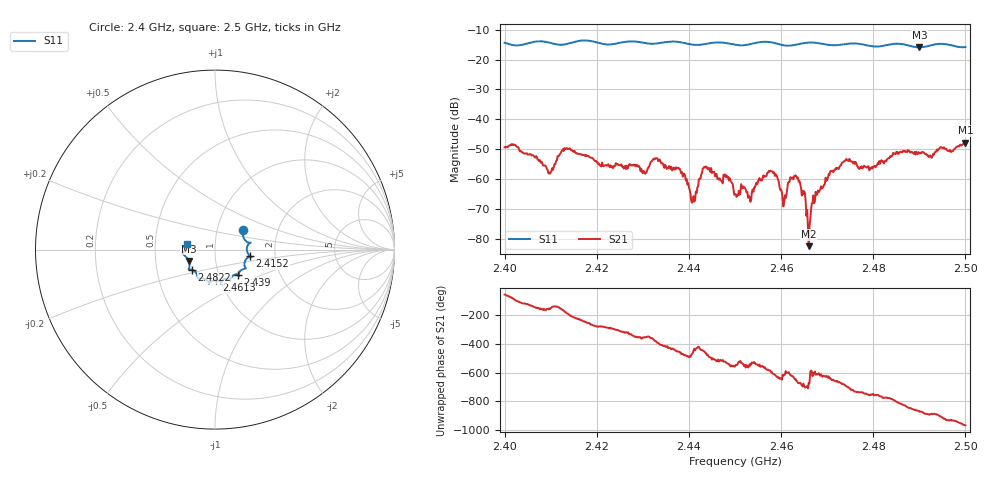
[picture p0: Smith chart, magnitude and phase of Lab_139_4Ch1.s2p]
# Hz S RI R 50
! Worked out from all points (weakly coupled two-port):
!   601 points, 2.4 GHz to 2.5 GHz, reference 50 ohm
!   highest |S21| = -47.78 dB at 2.5 GHz (marker M1); lowest = -82.5 dB at 2.466 GHz (marker M2)
!   lowest |S11| = -15.9 dB at 2.49 GHz (marker M3), VSWR 1.38, Z = 36.9 - j4.83 ohm
!   |S11| at or under -10 dB: start of sweep to end of sweep
!   S12 and S22 are empty: the file has one direction only
!   S11 on the Smith chart (normalised r, x): 2.4 GHz: 1.33, +0.31; 2.4152 GHz: 1.48, -0.11; 2.439 GHz: 1.24, -0.36; 2.4613 GHz: 0.96, -0.34; 2.4822 GHz: 0.76, -0.17; 2.5 GHz: 0.72, +0.05
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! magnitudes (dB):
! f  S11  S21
! 2.4 GHz  -14.4  -49.3
! 2.4097 GHz  -14.3  -57.8
! 2.4152 GHz  -14.1  -50.6
! 2.4167 GHz  -13.6  -51.7
! 2.4303 GHz  -14.4  -57.6
! 2.4333 GHz  -14.5  -54.0
! 2.439 GHz  -14.5  -58.3
! 2.4408 GHz  -15.0  -67.6
! 2.4435 GHz  -14.8  -56.2
! 2.45 GHz  -15.0  -65.1
! 2.4533 GHz  -14.8  -67.6
! 2.4577 GHz  -14.2  -57.3
! 2.4605 GHz  -15.2  -69.1
! 2.4613 GHz  -15.3  -63.3
! 2.4637 GHz  -14.9  -59.5
! 2.466 GHz  -14.3  -82.5
! 2.4667 GHz  -14.3  -68.2
! 2.4737 GHz  -14.9  -54.0
! 2.4822 GHz  -15.4  -54.0
! 2.4833 GHz  -15.0  -53.0
! 2.49 GHz  -15.9  -51.4
! 2.5 GHz  -15.8  -47.8
